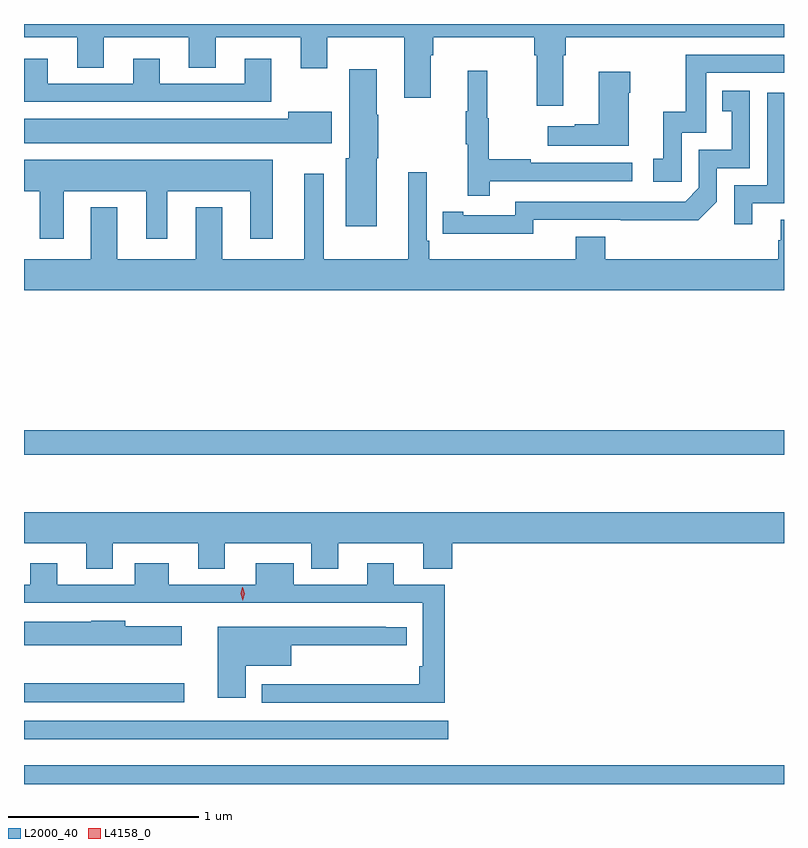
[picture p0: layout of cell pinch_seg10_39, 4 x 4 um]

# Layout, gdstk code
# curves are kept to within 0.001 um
import gdstk
lib = gdstk.Library(unit=1e-6, precision=1e-09)
def R(c, l, rs):  # rectangles x0, y0, x1, y1
    for r in rs: c.add(gdstk.rectangle(r[:2], r[2:], *l))
def P(c, l, *ps):  # polygons
    for p in ps: c.add(gdstk.Polygon(p, *l))
L2000_40 = (2000, 40)
L4158_0 = (4158, 0)

pinch_seg10_39 = lib.new_cell('pinch_seg10_39')
R(pinch_seg10_39, L2000_40, [(900.247,1260.421,904.247,1260.52), (900.247,1260.656,902.479,1260.753), (900.247,1260.852,901.09,1260.95), (900.247,1262.154,904.247,1262.282)])
P(pinch_seg10_39, L2000_40, [(903.085,1264.256),(903.098,1264.256),(903.098,1264.352),(904.247,1264.352),(904.247,1264.421),(900.247,1264.421),(900.247,1264.352),(900.527,1264.352),(900.527,1264.192),(900.667,1264.192),(900.667,1264.352),(901.115,1264.352),(901.115,1264.192),(901.255,1264.192),(901.255,1264.352),(901.703,1264.352),(901.703,1264.188),(901.843,1264.188),(901.843,1264.352),(902.249,1264.352),(902.249,1264.032),(902.389,1264.032),(902.389,1264.256),(902.402,1264.256),(902.402,1264.352),(902.933,1264.352),(902.933,1264.256),(902.945,1264.256),(902.945,1263.99),(903.085,1263.99)],
  [(903.708,1263.849),(903.837,1263.849),(903.837,1264.164),(904.247,1264.164),(904.247,1264.26),(903.729,1264.26),(903.729,1263.958),(903.611,1263.958),(903.611,1263.711),(903.558,1263.711),(903.558,1263.591),(903.708,1263.591)],
  [(901.549,1264.237),(901.409,1264.237),(901.409,1264.107),(900.961,1264.107),(900.961,1264.237),(900.821,1264.237),(900.821,1264.107),(900.373,1264.107),(900.373,1264.237),(900.247,1264.237),(900.247,1264.011),(901.549,1264.011)],
  [(902.104,1263.714),(902.112,1263.714),(902.112,1263.944),(902.104,1263.944),(902.104,1264.183),(901.958,1264.183),(901.958,1263.714),(901.94,1263.714),(901.94,1263.356),(902.104,1263.356)],
  [(902.699,1263.594),(903.448,1263.594),(903.448,1263.69),(902.915,1263.69),(902.915,1263.71),(902.692,1263.71),(902.692,1263.924),(902.684,1263.924),(902.684,1264.174),(902.582,1264.174),(902.582,1263.961),(902.571,1263.961),(902.571,1263.787),(902.582,1263.787),(902.582,1263.516),(902.699,1263.516)],
  [(903.43,1264.058),(903.438,1264.058),(903.438,1264.171),(903.272,1264.171),(903.272,1263.893),(903.146,1263.893),(903.146,1263.883),(903.003,1263.883),(903.003,1263.779),(903.43,1263.779)],
  [(902.928,1263.39),(903.796,1263.389),(903.894,1263.486),(903.894,1263.663),(904.068,1263.663),(904.068,1264.069),(903.922,1264.069),(903.922,1263.963),(903.971,1263.963),(903.971,1263.759),(903.798,1263.759),(903.798,1263.558),(903.726,1263.486),(902.832,1263.486),(902.832,1263.414),(902.56,1263.414),(902.56,1263.434),(902.452,1263.434),(902.452,1263.318),(902.928,1263.317)],
  [(904.081,1263.477),(904.247,1263.477),(904.247,1264.059),(904.158,1264.059),(904.158,1263.573),(903.984,1263.573),(903.984,1263.366),(904.081,1263.366)],
  [(901.867,1263.958),(901.637,1263.958),(901.637,1263.922),(900.247,1263.922),(900.247,1263.794),(901.867,1263.794)],
  [(900.457,1263.542),(900.89,1263.542),(900.89,1263.291),(901,1263.291),(901,1263.542),(901.439,1263.542),(901.439,1263.291),(901.555,1263.291),(901.555,1263.706),(900.247,1263.706),(900.247,1263.542),(900.329,1263.542),(900.329,1263.291),(900.457,1263.291)],
  [(904.247,1263.392),(904.229,1263.392),(904.229,1263.282),(904.217,1263.282),(904.217,1263.184),(903.305,1263.184),(903.305,1263.301),(903.152,1263.301),(903.152,1263.184),(902.381,1263.184),(902.381,1263.28),(902.367,1263.28),(902.367,1263.64),(902.27,1263.64),(902.27,1263.184),(901.825,1263.184),(901.825,1263.634),(901.721,1263.634),(901.721,1263.184),(901.291,1263.184),(901.291,1263.457),(901.151,1263.457),(901.151,1263.184),(900.739,1263.184),(900.739,1263.457),(900.599,1263.457),(900.599,1263.184),(900.247,1263.184),(900.247,1263.02),(904.247,1263.02)],
  [(900.715,1261.688),(901.163,1261.688),(901.163,1261.555),(901.303,1261.555),(901.303,1261.688),(901.76,1261.688),(901.76,1261.555),(901.9,1261.555),(901.9,1261.688),(902.348,1261.688),(902.348,1261.555),(902.501,1261.555),(902.501,1261.688),(904.247,1261.688),(904.247,1261.852),(900.247,1261.852),(900.247,1261.688),(900.575,1261.688),(900.575,1261.555),(900.715,1261.555)],
  [(902.462,1261.47),(902.194,1261.47),(902.194,1261.582),(902.054,1261.582),(902.054,1261.47),(901.666,1261.47),(901.666,1261.582),(901.466,1261.582),(901.466,1261.47),(901.009,1261.47),(901.009,1261.582),(900.83,1261.582),(900.83,1261.47),(900.421,1261.47),(900.421,1261.582),(900.281,1261.582),(900.281,1261.47),(900.247,1261.47),(900.247,1261.374),(902.346,1261.374),(902.346,1261.042),(902.326,1261.042),(902.326,1260.947),(901.75,1260.947),(901.75,1260.945),(901.499,1260.945),(901.499,1260.849),(902.462,1260.849)],
  [(901.078,1261.252),(900.78,1261.252),(900.78,1261.279),(900.6,1261.279),(900.6,1261.276),(900.247,1261.276),(900.247,1261.151),(901.078,1261.151)],
  [(901.414,1261.043),(901.654,1261.043),(901.654,1261.151),(902.261,1261.151),(902.261,1261.247),(902.15,1261.247),(902.15,1261.248),(901.55,1261.248),(901.55,1261.249),(901.268,1261.249),(901.268,1260.876),(901.414,1260.876)])
P(pinch_seg10_39, L4158_0, [(901.399,1261.386),(901.399,1261.387),(901.388,1261.422),(901.396,1261.457),(901.396,1261.457),(901.397,1261.457),(901.408,1261.422),(901.399,1261.387)])

lib.write_gds('pinch_seg10_39.gds')
